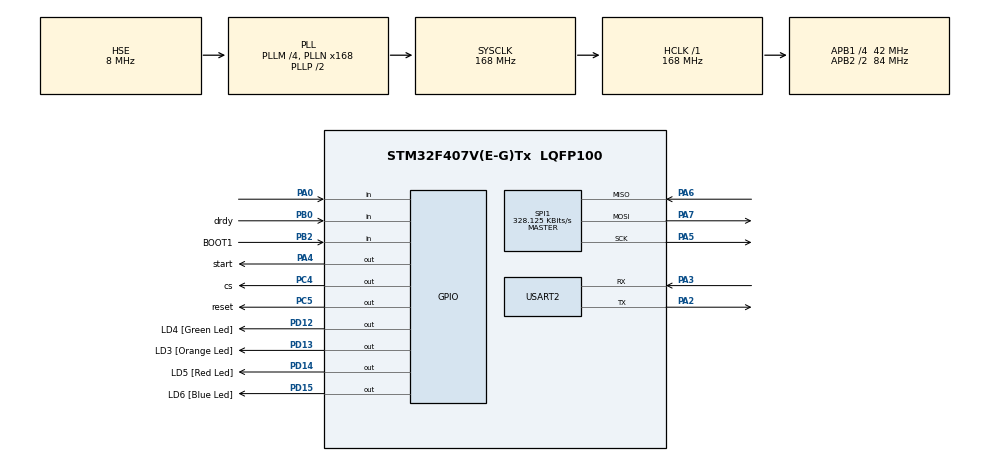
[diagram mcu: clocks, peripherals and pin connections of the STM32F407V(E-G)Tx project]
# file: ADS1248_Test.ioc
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Mcu.Family=STM32F4
Mcu.Name=STM32F407V(E-G)Tx
Mcu.Package=LQFP100
NVIC.PriorityGroup=NVIC_PRIORITYGROUP_0
PA0-WKUP.Signal=GPIO_Input
PA13.GPIO_Label=SWDIO
PA13.Mode=Serial_Wire
PA13.Signal=SYS_JTMS-SWDIO
PA14.GPIO_Label=SWCLK
PA14.Mode=Serial_Wire
PA14.Signal=SYS_JTCK-SWCLK
PA2.Mode=Asynchronous
PA2.Signal=USART2_TX
PA3.Mode=Asynchronous
PA3.Signal=USART2_RX
PA4.GPIO_Label=start
PA4.GPIO_PuPd=GPIO_PULLUP
PA4.Signal=GPIO_Output
PA5.GPIO_PuPd=GPIO_PULLDOWN
PA5.Mode=Full_Duplex_Master
PA5.Signal=SPI1_SCK
PA6.Mode=Full_Duplex_Master
PA6.Signal=SPI1_MISO
PA7.Mode=Full_Duplex_Master
PA7.Signal=SPI1_MOSI
PB0.GPIO_Label=drdy
PB0.Signal=GPIO_Input
PB10.GPIO_Label=CLK_IN [MP45DT02_CLK]
PB10.GPIO_Mode=GPIO_MODE_AF_PP
PB10.GPIO_PuPd=GPIO_NOPULL
PB10.GPIO_Speed=GPIO_SPEED_FREQ_LOW
PB10.Signal=I2S2_CK
PB2.GPIO_Label=BOOT1
PB2.GPIO_Mode=GPIO_MODE_INPUT
PB2.GPIO_PuPd=GPIO_NOPULL
PB2.Signal=GPIO_Input
PB3.GPIO_Label=SWO
PB3.Signal=SYS_JTDO-SWO
PC14-OSC32_IN.GPIO_Label=PC14-OSC32_IN
PC14-OSC32_IN.Mode=LSE-External-Oscillator
PC14-OSC32_IN.Signal=RCC_OSC32_IN
PC15-OSC32_OUT.GPIO_Label=PC15-OSC32_OUT
PC15-OSC32_OUT.Mode=LSE-External-Oscillator
PC15-OSC32_OUT.Signal=RCC_OSC32_OUT
PC4.GPIO_Label=cs
PC4.GPIO_PuPd=GPIO_PULLUP
PC4.PinState=GPIO_PIN_SET
PC4.Signal=GPIO_Output
PC5.GPIO_Label=reset
PC5.GPIO_PuPd=GPIO_PULLUP
PC5.PinState=GPIO_PIN_SET
PC5.Signal=GPIO_Output
PD12.GPIO_Label=LD4 [Green Led]
PD12.GPIO_PuPd=GPIO_NOPULL
PD12.GPIO_Speed=GPIO_SPEED_FREQ_LOW
PD12.Signal=GPIO_Output
PD13.GPIO_Label=LD3 [Orange Led]
PD13.GPIO_PuPd=GPIO_NOPULL
PD13.GPIO_Speed=GPIO_SPEED_FREQ_LOW
PD13.Signal=GPIO_Output
PD14.GPIO_Label=LD5 [Red Led]
PD14.GPIO_PuPd=GPIO_NOPULL
PD14.GPIO_Speed=GPIO_SPEED_FREQ_LOW
PD14.Signal=GPIO_Output
PD15.GPIO_Label=LD6 [Blue Led]
PD15.GPIO_PuPd=GPIO_NOPULL
PD15.GPIO_Speed=GPIO_SPEED_FREQ_LOW
PD15.Signal=GPIO_Output
PH0-OSC_IN.GPIO_Label=PH0-OSC_IN
PH0-OSC_IN.Mode=HSE-External-Oscillator
PH0-OSC_IN.Signal=RCC_OSC_IN
PH1-OSC_OUT.GPIO_Label=PH1-OSC_OUT
PH1-OSC_OUT.Mode=HSE-External-Oscillator
PH1-OSC_OUT.Signal=RCC_OSC_OUT
ProjectManager.HeapSize=0x200
ProjectManager.StackSize=0x400
ProjectManager.TargetToolchain=STM32CubeIDE
RCC.48MHZClocksFreq_Value=48000000
RCC.AHBFreq_Value=168000000
RCC.APB1CLKDivider=RCC_HCLK_DIV4
RCC.APB1Freq_Value=42000000
RCC.APB1TimFreq_Value=84000000
RCC.APB2CLKDivider=RCC_HCLK_DIV2
RCC.APB2Freq_Value=84000000
RCC.APB2TimFreq_Value=168000000
RCC.CortexFreq_Value=168000000
RCC.HCLKFreq_Value=168000000
RCC.HSE_VALUE=8000000
RCC.HSI_VALUE=16000000
RCC.PLLI2SN=50
RCC.PLLM=4
RCC.PLLN=168
RCC.PLLQ=7
RCC.PLLSourceVirtual=RCC_PLLSOURCE_HSE
RCC.SYSCLKFreq_VALUE=168000000
RCC.SYSCLKSource=RCC_SYSCLKSOURCE_PLLCLK
RCC.VCOOutputFreq_Value=336000000
SPI1.BaudRatePrescaler=SPI_BAUDRATEPRESCALER_256
SPI1.CLKPhase=SPI_PHASE_2EDGE
SPI1.CLKPolarity=SPI_POLARITY_LOW
SPI1.CalculateBaudRate=328.125 KBits/s
SPI1.Direction=SPI_DIRECTION_2LINES
SPI1.Mode=SPI_MODE_MASTER
SPI1.VirtualType=VM_MASTER
TIM10.Prescaler=83
USART2.VirtualMode=VM_ASYNC
VP_TIM10_VS_ClockSourceINT.Mode=Enable_Timer
board=STM32F407G-DISC1

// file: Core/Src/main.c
/* USER CODE BEGIN Header */
/**
  ******************************************************************************
  * @file           : main.c
  * @brief          : Main program body
  ******************************************************************************
  * @attention
  *
  * Copyright (c) 2026 STMicroelectronics.
  * All rights reserved.
  *
  * This software is licensed under terms that can be found in the LICENSE file
  * in the root directory of this software component.
  * If no LICENSE file comes with this software, it is provided AS-IS.
  *
  ******************************************************************************
  */
/* USER CODE END Header */
#include "main.h"

/* USER CODE BEGIN Includes */
#include "ADS1248.h"
#include <stdio.h>
#include <string.h>
#include <stdint.h>
/* USER CODE END Includes */

SPI_HandleTypeDef hspi1;

TIM_HandleTypeDef htim10;

UART_HandleTypeDef huart2;

/* USER CODE BEGIN PV */
ADS1248_Handle_t ads;
uint32_t count = 0;
uint32_t len;
uint8_t reg_data[5];
char c[50];
uint8_t dada;
uint8_t dada2[15];
uint32_t ofcc,fsc;
/* USER CODE END PV */

void SystemClock_Config(void);
static void MX_GPIO_Init(void);
static void MX_USART2_UART_Init(void);
static void MX_SPI1_Init(void);
static void MX_TIM10_Init(void);

int main(void)
{

  /* MCU Configuration--------------------------------------------------------*/

  /* Reset of all peripherals, Initializes the Flash interface and the Systick. */
  HAL_Init();

  /* Configure the system clock */
  SystemClock_Config();

  /* Initialize all configured peripherals */
  MX_GPIO_Init();
  MX_USART2_UART_Init();
  MX_SPI1_Init();
  MX_TIM10_Init();
  /* USER CODE BEGIN 2 */
  HAL_TIM_Base_Start(&htim10);
  ads.hspi = &hspi1;
  ads.CS_Port = cs_GPIO_Port;
  ads.CS_Pin = cs_Pin;
  ads.RESET_Port = reset_GPIO_Port;
  ads.RESET_Pin = reset_Pin;
  ads.START_Port = start_GPIO_Port;
  ads.START_Pin = start_Pin;
  ads.DRDY_Port = drdy_GPIO_Port;
  ads.DRDY_Pin = drdy_Pin;
  float ddata;
  ads.START_Port->BSRR = ads.START_Pin;
  ADS1248_Init(&ads);
  ADS1248_Reset_Hard(&ads);
  HAL_Delay(16);
  ADS1248_Set_Input_Channel(&ads, ADS1248_MUX_SP_AIN0, ADS1248_MUX_SN_AIN1);
  ADS1248_Set_Vref_State(&ads, ADS1248_VREFCON_INT_ALWAYS_ON);
  ADS1248_Set_Data_Rate(&ads, ADS1248_DATARATE_40SPS);
  ADS1248_Set_Vref_Source(&ads, ADS1248_REFSEL_INT);
  ADS1248_Set_Vltg_Calc_LSB(&ads, ADS1248_VREF_VLTG_INT);
  ADS1248_Set_System_Monitor(&ads, ADS1248_MUXCAL_NORMAL);
  ADS1248_ReadReg_n(&ads, ADS1248_REG_OFC0, 3, dada2);
  ofcc = 0x3003;
  ads.START_Port->BSRR = ads.START_Pin<<16;
//  ADS1248_Set_PGA(&ads, ADS1248_PGA_1);
//  ADS1248_Set_Drdy_Mode(&ads, ADS1248_DRDY_MODE_DATA_OUT_ONLY);
//  ADS1248_Set_Burnout_Current(&ads, ADS1248_BCS_0_UA);
  /* USER CODE END 2 */

  /* Infinite loop */
  while (1)
  {

    /* USER CODE BEGIN 3 */
	  if(HAL_GPIO_ReadPin(GPIOA, GPIO_PIN_0))
	  {
		  HAL_Delay(150);
		  ADS1248_Get_Voltage_V(&ads,&ddata);
		  len = sprintf(c,"Data: %lf\r",ddata);
		  HAL_UART_Transmit(&huart2,(uint8_t*)c,len, HAL_MAX_DELAY);
//		  ADS1248_Get_Temp_C(&ads, &ddata);
//		  len = sprintf(c,"Temp: %lf\r",ddata);
//		  HAL_UART_Transmit(&huart2,(uint8_t*)c,len, HAL_MAX_DELAY);
		  if(count == 5)
		  {
			  len = sprintf(c,"REF0 Selected 1.500V\r");
			  HAL_UART_Transmit(&huart2,(uint8_t*)c,len, HAL_MAX_DELAY);
			  ADS1248_Set_Vref_State(&ads, ADS1248_VREFCON_INT_ALWAYS_OFF);
			  ADS1248_Get_Voltage_V(&ads,&ddata);
			  len = sprintf(c,"Data: %lf\r",ddata);
			  HAL_UART_Transmit(&huart2,(uint8_t*)c,len, HAL_MAX_DELAY);
			  HAL_Delay(3000);
			  ADS1248_Set_Vref_Source(&ads, ADS1248_REFSEL_REFP0_REFN0);
			  ADS1248_Set_Vltg_Calc_LSB(&ads, ADS1248_VREF_VLTG_REF0);
		  }
		  if(count == 10)
		  {
			  len = sprintf(c,"Self Calib in 2Sec\r");
			  HAL_UART_Transmit(&huart2,(uint8_t*)c,len, HAL_MAX_DELAY);
			  HAL_Delay(2000);
			  ADS1248_Set_Self_Calib(&ads);
			  len = sprintf(c,"Self Calib Completed\r");
			  HAL_UART_Transmit(&huart2,(uint8_t*)c,len, HAL_MAX_DELAY);
		  }
		  if(count == 15)
		  {
			  len = sprintf(c,"System Calib in 5Sec\r");
			  HAL_UART_Transmit(&huart2,(uint8_t*)c,len, HAL_MAX_DELAY);
			  HAL_Delay(5000);
			  ADS1248_Set_VBIAS(&ads, ADS1248_VBIAS_AIN0,ENABLE);
			  HAL_Delay(150);
			  ADS1248_Set_System_Offset_Calib(&ads);
			  HAL_Delay(150);
			  ADS1248_Set_VBIAS(&ads, ADS1248_VBIAS_AIN0,DISABLE);
			  len = sprintf(c,"System Calib Completed\r");
			  HAL_UART_Transmit(&huart2,(uint8_t*)c,len, HAL_MAX_DELAY);
			  ADS1248_Set_Vref_State(&ads, ADS1248_VREFCON_INT_ALWAYS_ON);
			  ADS1248_Set_Vref_Source(&ads, ADS1248_REFSEL_INT);
			  ADS1248_Set_Vltg_Calc_LSB(&ads, ADS1248_VREF_VLTG_INT);
		  }
		  count++;
	  }
  }
  /* USER CODE END 3 */
}

void SystemClock_Config(void)
{
  RCC_OscInitTypeDef RCC_OscInitStruct = {0};
  RCC_ClkInitTypeDef RCC_ClkInitStruct = {0};

  /** Configure the main internal regulator output voltage
  */
  __HAL_RCC_PWR_CLK_ENABLE();
  __HAL_PWR_VOLTAGESCALING_CONFIG(PWR_REGULATOR_VOLTAGE_SCALE1);

  /** Initializes the RCC Oscillators according to the specified parameters
  * in the RCC_OscInitTypeDef structure.
  */
  RCC_OscInitStruct.OscillatorType = RCC_OSCILLATORTYPE_HSE;
  RCC_OscInitStruct.HSEState = RCC_HSE_ON;
  RCC_OscInitStruct.PLL.PLLState = RCC_PLL_ON;
  RCC_OscInitStruct.PLL.PLLSource = RCC_PLLSOURCE_HSE;
  RCC_OscInitStruct.PLL.PLLM = 4;
  RCC_OscInitStruct.PLL.PLLN = 168;
  RCC_OscInitStruct.PLL.PLLP = RCC_PLLP_DIV2;
  RCC_OscInitStruct.PLL.PLLQ = 7;
  if (HAL_RCC_OscConfig(&RCC_OscInitStruct) != HAL_OK)
  {
    Error_Handler();
  }

  /** Initializes the CPU, AHB and APB buses clocks
  */
  RCC_ClkInitStruct.ClockType = RCC_CLOCKTYPE_HCLK|RCC_CLOCKTYPE_SYSCLK
                              |RCC_CLOCKTYPE_PCLK1|RCC_CLOCKTYPE_PCLK2;
  RCC_ClkInitStruct.SYSCLKSource = RCC_SYSCLKSOURCE_PLLCLK;
  RCC_ClkInitStruct.AHBCLKDivider = RCC_SYSCLK_DIV1;
  RCC_ClkInitStruct.APB1CLKDivider = RCC_HCLK_DIV4;
  RCC_ClkInitStruct.APB2CLKDivider = RCC_HCLK_DIV2;

  if (HAL_RCC_ClockConfig(&RCC_ClkInitStruct, FLASH_LATENCY_5) != HAL_OK)
  {
    Error_Handler();
  }
}

static void MX_SPI1_Init(void)
{

  /* SPI1 parameter configuration*/
  hspi1.Instance = SPI1;
  hspi1.Init.Mode = SPI_MODE_MASTER;
  hspi1.Init.Direction = SPI_DIRECTION_2LINES;
  hspi1.Init.DataSize = SPI_DATASIZE_8BIT;
  hspi1.Init.CLKPolarity = SPI_POLARITY_LOW;
  hspi1.Init.CLKPhase = SPI_PHASE_2EDGE;
  hspi1.Init.NSS = SPI_NSS_SOFT;
  hspi1.Init.BaudRatePrescaler = SPI_BAUDRATEPRESCALER_256;
  hspi1.Init.FirstBit = SPI_FIRSTBIT_MSB;
  hspi1.Init.TIMode = SPI_TIMODE_DISABLE;
  hspi1.Init.CRCCalculation = SPI_CRCCALCULATION_DISABLE;
  hspi1.Init.CRCPolynomial = 10;
  if (HAL_SPI_Init(&hspi1) != HAL_OK)
  {
    Error_Handler();
  }

}

static void MX_TIM10_Init(void)
{

  htim10.Instance = TIM10;
  htim10.Init.Prescaler = 83;
  htim10.Init.CounterMode = TIM_COUNTERMODE_UP;
  htim10.Init.Period = 65535;
  htim10.Init.ClockDivision = TIM_CLOCKDIVISION_DIV1;
  htim10.Init.AutoReloadPreload = TIM_AUTORELOAD_PRELOAD_DISABLE;
  if (HAL_TIM_Base_Init(&htim10) != HAL_OK)
  {
    Error_Handler();
  }

}

static void MX_USART2_UART_Init(void)
{

  huart2.Instance = USART2;
  huart2.Init.BaudRate = 115200;
  huart2.Init.WordLength = UART_WORDLENGTH_8B;
  huart2.Init.StopBits = UART_STOPBITS_1;
  huart2.Init.Parity = UART_PARITY_NONE;
  huart2.Init.Mode = UART_MODE_TX_RX;
  huart2.Init.HwFlowCtl = UART_HWCONTROL_NONE;
  huart2.Init.OverSampling = UART_OVERSAMPLING_16;
  if (HAL_UART_Init(&huart2) != HAL_OK)
  {
    Error_Handler();
  }

}

static void MX_GPIO_Init(void)
{
  GPIO_InitTypeDef GPIO_InitStruct = {0};

  /* GPIO Ports Clock Enable */
  __HAL_RCC_GPIOC_CLK_ENABLE();
  __HAL_RCC_GPIOH_CLK_ENABLE();
  __HAL_RCC_GPIOA_CLK_ENABLE();
  __HAL_RCC_GPIOB_CLK_ENABLE();
  __HAL_RCC_GPIOD_CLK_ENABLE();

  /*Configure GPIO pin Output Level */
  HAL_GPIO_WritePin(start_GPIO_Port, start_Pin, GPIO_PIN_RESET);

  /*Configure GPIO pin Output Level */
  HAL_GPIO_WritePin(GPIOC, cs_Pin|reset_Pin, GPIO_PIN_SET);

  /*Configure GPIO pin Output Level */
  HAL_GPIO_WritePin(GPIOD, LD4_Pin|LD3_Pin|LD5_Pin|LD6_Pin, GPIO_PIN_RESET);

  /*Configure GPIO pin : PA0 */
  GPIO_InitStruct.Pin = GPIO_PIN_0;
  GPIO_InitStruct.Mode = GPIO_MODE_INPUT;
  GPIO_InitStruct.Pull = GPIO_NOPULL;
  HAL_GPIO_Init(GPIOA, &GPIO_InitStruct);

  /*Configure GPIO pin : start_Pin */
  GPIO_InitStruct.Pin = start_Pin;
  GPIO_InitStruct.Mode = GPIO_MODE_OUTPUT_PP;
  GPIO_InitStruct.Pull = GPIO_PULLUP;
  GPIO_InitStruct.Speed = GPIO_SPEED_FREQ_LOW;
  HAL_GPIO_Init(start_GPIO_Port, &GPIO_InitStruct);

  /*Configure GPIO pins : cs_Pin reset_Pin */
  GPIO_InitStruct.Pin = cs_Pin|reset_Pin;
  GPIO_InitStruct.Mode = GPIO_MODE_OUTPUT_PP;
  GPIO_InitStruct.Pull = GPIO_PULLUP;
  GPIO_InitStruct.Speed = GPIO_SPEED_FREQ_LOW;
  HAL_GPIO_Init(GPIOC, &GPIO_InitStruct);

  /*Configure GPIO pins : drdy_Pin BOOT1_Pin */
  GPIO_InitStruct.Pin = drdy_Pin|BOOT1_Pin;
  GPIO_InitStruct.Mode = GPIO_MODE_INPUT;
  GPIO_InitStruct.Pull = GPIO_NOPULL;
  HAL_GPIO_Init(GPIOB, &GPIO_InitStruct);

  /*Configure GPIO pin : CLK_IN_Pin */
  GPIO_InitStruct.Pin = CLK_IN_Pin;
  GPIO_InitStruct.Mode = GPIO_MODE_AF_PP;
  GPIO_InitStruct.Pull = GPIO_NOPULL;
  GPIO_InitStruct.Speed = GPIO_SPEED_FREQ_LOW;
  GPIO_InitStruct.Alternate = GPIO_AF5_SPI2;
  HAL_GPIO_Init(CLK_IN_GPIO_Port, &GPIO_InitStruct);

  /*Configure GPIO pins : LD4_Pin LD3_Pin LD5_Pin LD6_Pin */
  GPIO_InitStruct.Pin = LD4_Pin|LD3_Pin|LD5_Pin|LD6_Pin;
  GPIO_InitStruct.Mode = GPIO_MODE_OUTPUT_PP;
  GPIO_InitStruct.Pull = GPIO_NOPULL;
  GPIO_InitStruct.Speed = GPIO_SPEED_FREQ_LOW;
  HAL_GPIO_Init(GPIOD, &GPIO_InitStruct);

}

void Error_Handler(void)
{
  __disable_irq();
  while (1)
  {
  }
}
